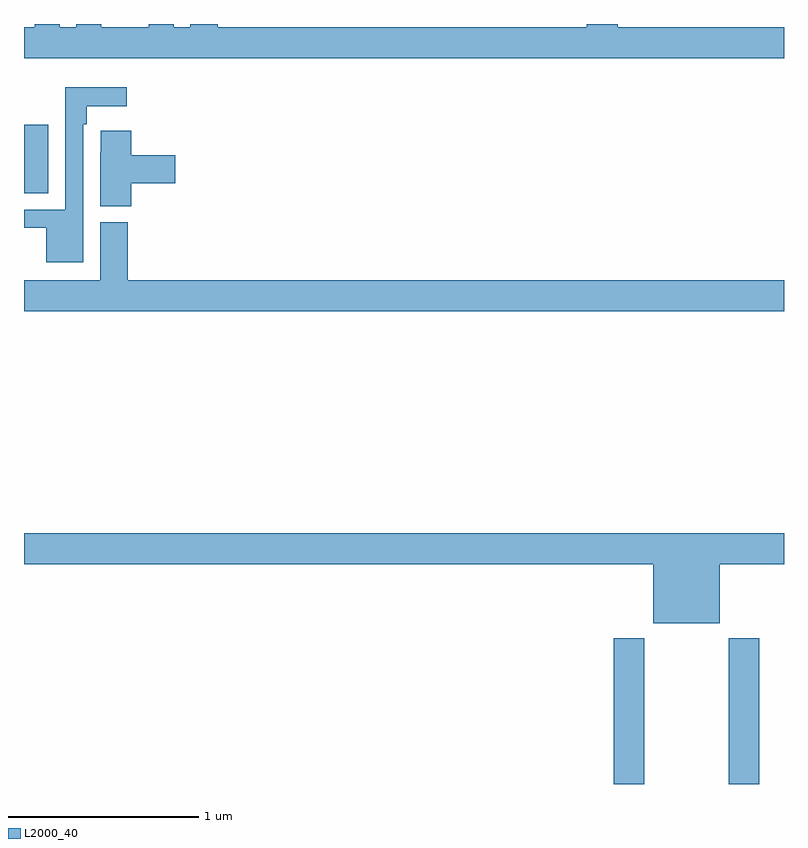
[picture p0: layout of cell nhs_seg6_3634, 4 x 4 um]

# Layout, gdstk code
import gdstk
lib = gdstk.Library(unit=1e-6, precision=1e-09)
def R(c, l, rs):  # rectangles x0, y0, x1, y1
    for r in rs: c.add(gdstk.rectangle(r[:2], r[2:], *l))
def P(c, l, *ps):  # polygons
    for p in ps: c.add(gdstk.Polygon(p, *l))
L2000_40 = (2000, 40)

nhs_seg6_3634 = lib.new_cell('nhs_seg6_3634')
R(nhs_seg6_3634, L2000_40, [(326.105,959.5,326.265,960.268), (326.71,959.5,326.87,960.268), (323,962.608,323.128,962.971)])
P(nhs_seg6_3634, L2000_40, [(327,963.484),(326.126,963.484),(326.126,963.5),(325.961,963.5),(325.961,963.484),(324.02,963.484),(324.02,963.5),(323.876,963.5),(323.876,963.484),(323.788,963.484),(323.788,963.5),(323.657,963.5),(323.657,963.484),(323.407,963.484),(323.407,963.5),(323.276,963.5),(323.276,963.484),(323.188,963.484),(323.188,963.5),(323.057,963.5),(323.057,963.484),(323,963.484),(323,963.32),(327,963.32)],
  [(323.313,962.972),(323.329,962.972),(323.329,963.068),(323.542,963.068),(323.542,963.166),(323.217,963.166),(323.217,962.523),(323,962.523),(323,962.427),(323.117,962.427),(323.117,962.246),(323.313,962.246)],
  [(323.564,962.663),(323.797,962.663),(323.797,962.81),(323.564,962.81),(323.564,962.938),(323.403,962.938),(323.403,962.825),(323.402,962.825),(323.402,962.542),(323.564,962.542)],
  [(327,962.152),(323.546,962.152),(323.546,962.457),(323.402,962.457),(323.402,962.152),(323,962.152),(323,961.988),(327,961.988)],
  [(326.662,960.656),(327,960.656),(327,960.82),(323,960.82),(323,960.656),(326.312,960.656),(326.312,960.347),(326.662,960.347)])

lib.write_gds('nhs_seg6_3634.gds')
